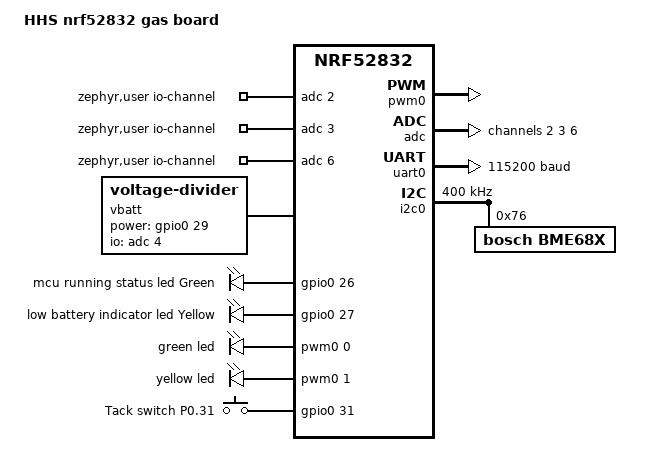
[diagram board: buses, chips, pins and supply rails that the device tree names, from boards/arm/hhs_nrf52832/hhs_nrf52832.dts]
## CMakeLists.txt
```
# SPDX-License-Identifier: Apache-2.0

cmake_minimum_required(VERSION 3.20.0)
set_property(GLOBAL PROPERTY CSTD c11)

set(BOARD_ROOT ${CMAKE_CURRENT_LIST_DIR})
set(BOARD hhs_nrf52832)
# set(BOARD_FLASH_RUNNER jlink)
set(APP_ROOT ${CMAKE_SOURCE_DIR})
set(ZEPHYR_EXTRA_MODULES ${CMAKE_CURRENT_SOURCE_DIR}/drivers)

set(CONF_FILE "prj.conf")
# list(APPEND CONF_FILE "debug.conf")

add_compile_definitions(_XOPEN_SOURCE=700)

find_package(Zephyr 3.5.99 EXACT)
project(gas_ces)

zephyr_include_directories(include)
file(GLOB app_sources src/*.c)
target_sources(app PRIVATE ${app_sources})
```

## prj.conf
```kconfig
# DFU
# CONFIG_NCS_SAMPLE_MCUMGR_BT_OTA_DFU=y
# CONFIG_BOOTLOADER_MCUBOOT=y

# Watchdog
CONFIG_WATCHDOG=y

# LED
CONFIG_PWM=y
CONFIG_LED=y

# ADC
CONFIG_ADC=y
CONFIG_ADC_NRFX_SAADC=y

# GPIO
CONFIG_GPIO=y
CONFIG_GPIO_HOGS=n

# SENSOR
CONFIG_I2C=y
CONFIG_SENSOR=y
CONFIG_SENSOR_INFO=y
# Temperature, Pressure, Humidity
CONFIG_BME68X=y
# Gas Mode(IAQ, CO2, VOC)
CONFIG_BME68X_IAQ_EN=n
CONFIG_BME68X_IAQ_SAMPLE_RATE_ULTRA_LOW_POWER=y
# CONFIG_BME68X_LOG_LEVEL_DBG=y

# Power Management
CONFIG_PM_DEVICE=y

# Settings - Used to store real-time device configuration to flash.
CONFIG_SETTINGS=y
CONFIG_SETTINGS_NVS=y
CONFIG_NVS=y
CONFIG_FLASH=y
CONFIG_FLASH_PAGE_LAYOUT=y
CONFIG_FLASH_MAP=y
CONFIG_STREAM_FLASH=y
CONFIG_MPU_ALLOW_FLASH_WRITE=y

CONFIG_NEWLIB_LIBC=y
CONFIG_NEWLIB_LIBC_FLOAT_SCANF=y

CONFIG_ASSERT=y
CONFIG_REBOOT=y

# Floating Point Unit
CONFIG_FP_HARDABI=y
CONFIG_FPU=y

# Bluetooth LE
CONFIG_BT=y
CONFIG_BT_PERIPHERAL=y
CONFIG_BT_DEVICE_NAME="HHS_G0012"
CONFIG_BT_USER_PHY_UPDATE=y
CONFIG_BT_GATT_CLIENT=y
CONFIG_BT_USER_DATA_LEN_UPDATE=y
CONFIG_BT_CTLR_DATA_LENGTH_MAX=251
CONFIG_BT_BUF_ACL_RX_SIZE=251
CONFIG_BT_BUF_ACL_TX_SIZE=251
CONFIG_BT_L2CAP_TX_MTU=247
CONFIG_BT_CTLR=y
CONFIG_BT_CTLR_TX_PWR_PLUS_4=y

# connection parameter
CONFIG_BT_PERIPHERAL_PREF_MIN_INT=400
CONFIG_BT_PERIPHERAL_PREF_MAX_INT=400
CONFIG_BT_PERIPHERAL_PREF_LATENCY=0
CONFIG_BT_PERIPHERAL_PREF_TIMEOUT=800
CONFIG_BT_GAP_AUTO_UPDATE_CONN_PARAMS=y

# Events
CONFIG_EVENTS=y

# stack size
CONFIG_BT_RX_STACK_SIZE=1024
CONFIG_BT_HCI_TX_STACK_SIZE_WITH_PROMPT=y
CONFIG_BT_HCI_TX_STACK_SIZE=640
CONFIG_SYSTEM_WORKQUEUE_STACK_SIZE=1024
CONFIG_MPSL_WORK_STACK_SIZE=640
CONFIG_MAIN_STACK_SIZE=1024
CONFIG_IDLE_STACK_SIZE=128
CONFIG_ISR_STACK_SIZE=1024

# Disable features not needed
CONFIG_TIMESLICING=n
CONFIG_MINIMAL_LIBC_MALLOC=n
CONFIG_LOG=n

# Disable Bluetooth ping support
CONFIG_BT_CTLR_LE_PING=n

# Disable shell commands that are not needed
CONFIG_CLOCK_CONTROL_NRF_SHELL=n
CONFIG_DEVICE_SHELL=n
CONFIG_DEVMEM_SHELL=n
CONFIG_FLASH_SHELL=n

# Memory protection
CONFIG_INIT_STACKS=n
CONFIG_THREAD_MONITOR=n
CONFIG_THREAD_CUSTOM_DATA=n

# Boot
CONFIG_BOOT_BANNER=n
CONFIG_BOOT_DELAY=0

# Console
CONFIG_CONSOLE=n
CONFIG_UART_CONSOLE=n
CONFIG_STDOUT_CONSOLE=n
CONFIG_EARLY_CONSOLE=n
CONFIG_RTT_CONSOLE=n
CONFIG_USE_SEGGER_RTT=n
CONFIG_PRINTK=n
CONFIG_LOG=n

# Drivers and peripherals
CONFIG_SPI=n
CONFIG_SERIAL=n

# Interrupts
CONFIG_DYNAMIC_INTERRUPTS=n
CONFIG_IRQ_OFFLOAD=n

# Build
CONFIG_SIZE_OPTIMIZATIONS=y

CONFIG_CRC=y
CONFIG_POWEROFF=y
CONFIG_PM=y
CONFIG_HWINFO=y
```

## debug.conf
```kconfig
# Debug Only
CONFIG_SERIAL=y
CONFIG_CONSOLE=y
CONFIG_UART_CONSOLE=y
CONFIG_LOG=y
CONFIG_LOG_MODE_DEFERRED=y
CONFIG_LOG_INFO_COLOR_GREEN=y
CONFIG_LOG_FUNC_NAME_PREFIX_DBG=n

CONFIG_APP_LOG_LEVEL_DBG=y
```

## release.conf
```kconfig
# DFU
# CONFIG_NCS_SAMPLE_MCUMGR_BT_OTA_DFU=y
# CONFIG_BOOTLOADER_MCUBOOT=y

# Watchdog
CONFIG_WATCHDOG=y

# LED
CONFIG_PWM=y
CONFIG_LED=y

# ADC
CONFIG_ADC=y

# GPIO
CONFIG_GPIO=y
CONFIG_GPIO_HOGS=y

# SENSOR
CONFIG_I2C=y
CONFIG_SENSOR=y
CONFIG_SENSOR_INFO=y
# Temperature, Pressure, Humidity
CONFIG_BME68X=y
# Gas Mode(IAQ, CO2, VOC)
CONFIG_BME68X_IAQ_EN=n
# CONFIG_BME68X_IAQ_SAMPLE_RATE_ULTRA_LOW_POWER=y
# CONFIG_BME68X_LOG_LEVEL_DBG=y

# Power Management
CONFIG_PM_DEVICE=y

# Settings - Used to store real-time device configuration to flash.
CONFIG_SETTINGS=y
CONFIG_SETTINGS_NVS=y
CONFIG_NVS=y
CONFIG_FLASH=y
CONFIG_FLASH_PAGE_LAYOUT=y
CONFIG_FLASH_MAP=y
CONFIG_STREAM_FLASH=y
CONFIG_MPU_ALLOW_FLASH_WRITE=y

CONFIG_NEWLIB_LIBC=y
CONFIG_NEWLIB_LIBC_FLOAT_SCANF=y

CONFIG_ASSERT=y
CONFIG_REBOOT=y

# Floating Point Unit
CONFIG_FP_HARDABI=y
CONFIG_FPU=y

# Bluetooth LE
CONFIG_BT=y
CONFIG_BT_PERIPHERAL=y
CONFIG_BT_DEVICE_NAME="HHSG_GAS_01"
CONFIG_BT_USER_PHY_UPDATE=y
CONFIG_BT_GATT_CLIENT=y
CONFIG_BT_USER_DATA_LEN_UPDATE=y
CONFIG_BT_CTLR_DATA_LENGTH_MAX=251
CONFIG_BT_BUF_ACL_RX_SIZE=251
CONFIG_BT_BUF_ACL_TX_SIZE=251
CONFIG_BT_L2CAP_TX_MTU=247

# connection parameter
CONFIG_BT_PERIPHERAL_PREF_MIN_INT=3200
CONFIG_BT_PERIPHERAL_PREF_MAX_INT=3200
CONFIG_BT_PERIPHERAL_PREF_LATENCY=0
CONFIG_BT_PERIPHERAL_PREF_TIMEOUT=1600
CONFIG_BT_GAP_AUTO_UPDATE_CONN_PARAMS=y

# Events
CONFIG_EVENTS=y

# stack size
CONFIG_BT_RX_STACK_SIZE=1024
CONFIG_BT_HCI_TX_STACK_SIZE_WITH_PROMPT=y
CONFIG_BT_HCI_TX_STACK_SIZE=640
CONFIG_SYSTEM_WORKQUEUE_STACK_SIZE=1024
CONFIG_MPSL_WORK_STACK_SIZE=640
CONFIG_MAIN_STACK_SIZE=1024
CONFIG_IDLE_STACK_SIZE=128
CONFIG_ISR_STACK_SIZE=1024

# Disable features not needed
CONFIG_TIMESLICING=n
CONFIG_MINIMAL_LIBC_MALLOC=n
CONFIG_LOG=n

# Disable Bluetooth ping support
CONFIG_BT_CTLR_LE_PING=n

# Disable shell commands that are not needed
CONFIG_CLOCK_CONTROL_NRF_SHELL=n
CONFIG_DEVICE_SHELL=n
CONFIG_DEVMEM_SHELL=n
CONFIG_FLASH_SHELL=n

# Memory protection
CONFIG_INIT_STACKS=n
CONFIG_THREAD_MONITOR=n
CONFIG_THREAD_CUSTOM_DATA=n

# Boot
CONFIG_BOOT_BANNER=n
CONFIG_BOOT_DELAY=0

# Console
CONFIG_CONSOLE=n
CONFIG_UART_CONSOLE=n
CONFIG_STDOUT_CONSOLE=n
CONFIG_EARLY_CONSOLE=n
CONFIG_RTT_CONSOLE=n
CONFIG_USE_SEGGER_RTT=n
CONFIG_PRINTK=n
CONFIG_LOG=n

# Drivers and peripherals
CONFIG_SPI=n
CONFIG_SERIAL=n

# Interrupts
CONFIG_DYNAMIC_INTERRUPTS=n
CONFIG_IRQ_OFFLOAD=n

# Build
CONFIG_SIZE_OPTIMIZATIONS=y

# Debug Only
# CONFIG_SERIAL=y
# CONFIG_CONSOLE=y
# CONFIG_UART_CONSOLE=y
# CONFIG_LOG=y
# CONFIG_LOG_MODE_DEFERRED=y
# CONFIG_LOG_INFO_COLOR_GREEN=y
# CONFIG_APP_LOG_LEVEL_DBG=y
# CONFIG_LOG_FUNC_NAME_PREFIX_DBG=n
```

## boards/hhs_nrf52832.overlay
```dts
/ {
	load_switchs{
		compatible = "power-switch";

		sw0: load_switch_0 {
			     gpios = <&gpio0 18 GPIO_ACTIVE_HIGH>;
			     label = "bme680 sensor load-switch";
		     };

		sw1: load_switch_1 {
			     gpios = <&gpio0 27 GPIO_ACTIVE_HIGH>;
			     label = "battery monitor load-switch";
		     };
	};
};
```

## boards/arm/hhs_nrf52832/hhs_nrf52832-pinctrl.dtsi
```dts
/*
 * Copyright (c) 2022 Nordic Semiconductor
 * SPDX-License-Identifier: Apache-2.0
 */

&pinctrl {
	uart0_default: uart0_default {
		group1 {
			psels = <NRF_PSEL(UART_TX, 0, 19)>,
                    <NRF_PSEL(UART_RX, 0, 18)>;
		};
	};

	uart0_sleep: uart0_sleep {
		group1 {
			psels = <NRF_PSEL(UART_TX, 0, 19)>,
                    <NRF_PSEL(UART_RX, 0, 18)>;
			low-power-enable;
		};
	};

	i2c0_default: i2c0_default {
		group1 {
			psels = <NRF_PSEL(TWIM_SDA, 0, 14)>,
                    <NRF_PSEL(TWIM_SCL, 0, 15)>;
                bias-pull-up;
		};
	};

	i2c0_sleep: i2c0_sleep {
		group1 {
			psels = <NRF_PSEL(TWIM_SDA, 0, 14)>,
                    <NRF_PSEL(TWIM_SCL, 0, 15)>;
			low-power-enable;
		};
	};

	pwm0_default: pwm0_default {
		group1 {
			psels = <NRF_PSEL(PWM_OUT0, 0, 26)>,
                    <NRF_PSEL(PWM_OUT1, 0, 27)>;
		};
	};

	pwm0_sleep: pwm0_sleep {
		group1 {
			psels = <NRF_PSEL(PWM_OUT0, 0, 26)>,
                    <NRF_PSEL(PWM_OUT1, 0, 27)>;
			low-power-enable;
		};
	};
};
```

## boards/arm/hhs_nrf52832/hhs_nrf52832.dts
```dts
/**
* @file hhs_nrf52832.dts
* @brief
* @author bradkim06
* @version
* @date 2023-10-17
*/

/dts-v1/;
#include <nordic/nrf52832_qfaa.dtsi>
#include "hhs_nrf52832-pinctrl.dtsi"

/ {
	model = "HHS nrf52832 gas board";
	compatible = "nordic,hhs_nrf52832";

	zephyr,user {
		io-channels = <&adc 2>, <&adc 3>, <&adc 6>;
	};

	chosen {
		zephyr,console = &uart0;
		zephyr,shell-uart = &uart0;
		zephyr,uart-mcumgr = &uart0;
		zephyr,bt-mon-uart = &uart0;
		zephyr,bt-c2h-uart = &uart0;
		zephyr,sram = &sram0;
		zephyr,flash = &flash0;
		zephyr,code-partition = &slot0_partition;
	};

	vbatt {
		compatible = "voltage-divider";
		status = "okay";
		io-channels = <&adc 4>;
		output-ohms = <180000>;
		full-ohms = <(1500000 + 180000)>;
		power-gpios = <&gpio0 29 GPIO_ACTIVE_HIGH>;
	};

	leds {
		compatible = "gpio-leds";
        status = "okay";

		led0: led_0 {
			gpios = <&gpio0 26 GPIO_ACTIVE_HIGH>;
			label = "mcu running status led Green";
		};
		led1: led_1 {
			gpios = <&gpio0 27 GPIO_ACTIVE_HIGH>;
			label = "low battery indicator led Yellow";
		};
	};

	pwmleds {
		compatible = "pwm-leds";
        status = "okay";
        label = "status led";

		pwm_led0: pwm_led_0 {
			pwms = <&pwm0 0 PWM_MSEC(20) PWM_POLARITY_NORMAL>;
			label = "green led";
		};
		pwm_led1: pwm_led_1 {
			pwms = <&pwm0 1 PWM_MSEC(20) PWM_POLARITY_NORMAL>;
			label = "yellow led";
		};
	};

    /* P0.31(== D31 핀)에 버튼을 정의하고 sw0 별칭을 바꾼다 */
    buttons: buttons {               /* ← 노드 이름 fixed string ‘buttons’ 권장 */
        compatible = "gpio-keys";

        btn_p031: button_0 {
            gpios = <&gpio0 31 (GPIO_ACTIVE_HIGH | GPIO_PULL_DOWN)>;
            label = "Tack switch P0.31";
        };
    };

	/* These aliases are provided for compatibility with samples */
	aliases {
		watchdog0 = &wdt0;
		led0 = &led0;
		led1 = &led1;
        greenled = &pwm_led0;
        yellowled = &pwm_led1;
		sw0 = &btn_p031;
	};
};

&pwm0 {
	status = "okay";
	pinctrl-0 = <&pwm0_default>;
	pinctrl-1 = <&pwm0_sleep>;
	pinctrl-names = "default", "sleep";
};

&nfct {
	status = "disabled";
};

&adc {
	status = "okay";
	#address-cells = <1>;
	#size-cells = <0>;

	/*
     * datasheet value different, ideal 90uA +-20 (at 20.9% o2)
	 * 1% current 5uA -> sensor vout = (Curr * Rl) * (1 + R1 / R2) =
	 */
	o2_mon: channel@2 {
		reg = <2>;
		zephyr,gain = "ADC_GAIN_1_6";
		zephyr,reference = "ADC_REF_INTERNAL";
		zephyr,acquisition-time = <ADC_ACQ_TIME(ADC_ACQ_TIME_MICROSECONDS, 40)>;
		zephyr,input-positive = <NRF_SAADC_AIN2>; /* P0.04 */
		zephyr,resolution = <12>;
		zephyr,oversampling = <5>;
	};

	gas_mon: channel@3 {
		reg = <3>;
		zephyr,gain = "ADC_GAIN_1_6";
		zephyr,reference = "ADC_REF_INTERNAL";
		zephyr,acquisition-time = <ADC_ACQ_TIME(ADC_ACQ_TIME_MICROSECONDS, 40)>;
		zephyr,input-positive = <NRF_SAADC_AIN3>; /* P0.05 */
		zephyr,resolution = <12>;
		zephyr,oversampling = <5>;
	};

	batt_mon: channel@6 {
		reg = <6>;
		zephyr,gain = "ADC_GAIN_1_6";
		zephyr,reference = "ADC_REF_INTERNAL";
		zephyr,acquisition-time = <ADC_ACQ_TIME(ADC_ACQ_TIME_MICROSECONDS, 40)>;
		zephyr,input-positive = <NRF_SAADC_AIN6>; /* P0.30 */
		zephyr,resolution = <12>;
		zephyr,oversampling = <5>;
	};
};

&gpio0 {
	status = "okay";
};

serial: &uart0 {
	status = "okay";
	compatible = "nordic,nrf-uarte";
	current-speed = <115200>;
	pinctrl-0 = <&uart0_default>;
	pinctrl-1 = <&uart0_sleep>;
	pinctrl-names = "default", "sleep";
};

i2c: &i2c0 {
	compatible = "nordic,nrf-twim";
	status = "okay";
	clock-frequency = <I2C_BITRATE_FAST>;

	pinctrl-0 = <&i2c0_default>;
	pinctrl-1 = <&i2c0_sleep>;
	pinctrl-names = "default", "sleep";

	bme68x:bme68x@76 {
		compatible = "bosch,bme68x";
		status = "okay";
		friendly-name = "bosch environment sensor";
		reg = <0x76>;
	};
};

&gpiote {
    status = "okay";
};

&flash0 {
	partitions {
		compatible = "fixed-partitions";
		#address-cells = <1>;
		#size-cells = <1>;

		boot_partition: partition@0 {
			label = "mcuboot";
			reg = <0x00000000 0xc000>;
		};
		slot0_partition: partition@c000 {
			label = "image-0";
			reg = <0x0000C000 0x37000>;
		};
		slot1_partition: partition@43000 {
			label = "image-1";
			reg = <0x00043000 0x37000>;
		};
		storage_partition: partition@7a000 {
			label = "storage";
			reg = <0x0007a000 0x00006000>;
		};
	};
};
```

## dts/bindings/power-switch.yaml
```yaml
# Copyright (c) 2023 Libre Solar Technologies GmbH
# SPDX-License-Identifier: Apache-2.0

description: GPIO pin to switch a power output on or off

compatible: "power-switch"

child-binding:
  description: GPIO LED child node
  properties:
    gpios:
      type: phandle-array
      required: true
      description: |
        The GPIO connected to the gate driver for the MOSFET.
    label:
      type: string
      description: |
        a load with high current demands should be switched on or off via a MOSFET
```

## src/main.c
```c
/**
 * @file src/main.c - The starting point of the user application
 *
 * @brief The operation of the main() function, which is the first function
 * called after kernel initialization
 *
 * @author bradkim06@gmail.com
 */
#include <hal/nrf_power.h>
#include <zephyr/device.h>
#include <zephyr/drivers/gpio.h>
#include <zephyr/drivers/hwinfo.h>
#include <zephyr/drivers/watchdog.h>
#include <zephyr/kernel.h>
#include <zephyr/logging/log.h>
#include <zephyr/pm/pm.h>
#include <zephyr/sys/poweroff.h>
#include <zephyr/sys/reboot.h>

#include "gas.h"
#include "version.h"

/* ───── 설정 값 ───── */
#define LONG_PRESS_MS 1000 /* 길게 누름 시간 */

static const struct gpio_dt_spec sw0 = GPIO_DT_SPEC_GET(DT_ALIAS(sw0), gpios);
static struct gpio_callback sw_cb;
static struct k_timer long_press_timer;
static volatile bool off_pending; /* 뗐을 때 power-off 플래그 */
static atomic_t pressed;

/* 타이머 만료 → 1 초 이상 눌림 확인 */
static void long_press_handler(struct k_timer *timer) {
    if (!atomic_get(&pressed))
        return;

    printk("Long press detected – release to power-off\n");
    off_pending = true; /* 뗐을 때 끌 것 */
}

/* 전원 끄기 전 GPIO 핀을 연결 해제하여 누설 전류를 최소화합니다. */
static void configure_gpios_for_poweroff(void) {
    const struct device *const gpio0 = DEVICE_DT_GET(DT_NODELABEL(gpio0));

    if (!device_is_ready(gpio0)) {
        printk("GPIO0 not ready\n");
        return;
    }

    for (uint8_t pin = 0; pin < 32; pin++) {
        switch (pin) {
        case 31: /* wake-up 버튼 – 건드리지 않음 */
            break;

        case 29: /* VBATT 전원 스위치 및 LED 게이트 전원 차단 */
        case 26: /* LED 게이트는 VBATT 스위치를 Low 로 당겨 공유 차단 */
        case 27: /* LED 게이트는 VBATT 스위치를 Low 로 당겨 공유 차단 */
            gpio_pin_configure(gpio0, 29, GPIO_OUTPUT_LOW);
            break;

        default: /* 나머지 – 완전 Hi-Z */
            gpio_pin_configure(gpio0, pin, GPIO_DISCONNECTED);
            break;
        }
    }
}

static void button_cb(const struct device *dev, struct gpio_callback *cb,
                      uint32_t pins) {
    bool val = gpio_pin_get_dt(&sw0);

    if (val) { /* High → 눌림 시작 */
        atomic_set(&pressed, 1);
        k_timer_start(&long_press_timer, K_MSEC(LONG_PRESS_MS), K_NO_WAIT);
    } else { /* Low → 뗌 */
        atomic_set(&pressed, 0);
        k_timer_stop(&long_press_timer);

        if (off_pending) { /* 길게 누른 뒤 손 뗐음 → 끄기 */
            off_pending = false;

            /* 깨우기용: 다음 Rising(High) 에 반응 */
            gpio_pin_interrupt_configure_dt(&sw0, GPIO_INT_LEVEL_ACTIVE);

            configure_gpios_for_poweroff();

            hwinfo_clear_reset_cause();
            sys_poweroff(); /* System-OFF, 전류 ≈ 0.3 µA */
        }
    }
}

LOG_MODULE_REGISTER(MAIN, CONFIG_APP_LOG_LEVEL);
FIRMWARE_INFO();

/**
 * @brief This thread performs kernel initialization, then calls the
application’s main() function (if one is defined).

By default, the main thread uses the highest configured preemptible thread
priority (i.e. 0). If the kernel is not configured to support preemptible
threads, the main thread uses the lowest configured cooperative thread priority
(i.e. -1).

The main thread is an essential thread while it is performing kernel
initialization or executing the application’s main() function; this means a
fatal system error is raised if the thread aborts. If main() is not defined, or
if it executes and then does a normal return, the main thread terminates
normally and no error is raised.
 *
 * @return must be 0(none error)
 */
int main(void) {
    LOG_INF("Firmware : %s", firmware_info);
    LOG_INF("Board:%s  SoC:%s  ROM:%dkB  RAM:%dkB", CONFIG_BOARD, CONFIG_SOC,
            CONFIG_FLASH_SIZE, CONFIG_SRAM_SIZE);

    /* ① 버튼 핀 설정 */
    gpio_pin_configure_dt(&sw0, GPIO_INPUT | GPIO_PULL_DOWN);
    /* 풀다운 저항이 안정될 시간을 줌 */
    k_sleep(K_MSEC(10));

    gpio_pin_interrupt_configure_dt(&sw0, GPIO_INT_EDGE_BOTH);
    gpio_init_callback(&sw_cb, button_cb, BIT(sw0.pin));
    gpio_add_callback(sw0.port, &sw_cb);

    k_timer_init(&long_press_timer, long_press_handler, NULL);

    /* ② 부팅 원인 확인 */
    uint32_t cause;
    hwinfo_get_reset_cause(&cause);
    printk("Hold P0.31 for 1 s to enter deep sleep.\n");

    /* ③ 애플리케이션 루프 */
    while (1) {
        k_sleep(K_FOREVER);
    }

    return 0;
}

#if DT_HAS_COMPAT_STATUS_OKAY(nordic_nrf_wdt)
/* Maximum and minimum window for watchdog timer in milliseconds */
#define WDT_MAX_WINDOW 5000U
#define WDT_MIN_WINDOW 0U

/* Interval for feeding the watchdog timer(ms) */
#define WDT_FEED_INTERVAL 1000U

/* Option for watchdog timer */
#define WDT_OPER_MODE WDT_OPT_PAUSE_HALTED_BY_DBG
#endif

/**
 * @brief Watchdog thread function.
 *
 * This function sets up the watchdog timer and continuously feeds it.
 */
static void watchdog_thread_fn(void) {
    int setup_error_status;  // wdt_setup 결과 코드 저장
    int watchdog_channel_id; // 설치된 watchdog 채널 식별자
    const struct device *const watchdog_device =
        DEVICE_DT_GET(DT_ALIAS(watchdog0)); // watchdog 주변장치 핸들

    // Check if the device is ready before proceeding
    if (!device_is_ready(watchdog_device)) {
        LOG_ERR("%s: device not ready.\n", watchdog_device->name);
        return;
    }

    struct wdt_timeout_cfg watchdog_configuration = {
        /* Reset SoC when watchdog timer expires. */
        .flags = WDT_FLAG_RESET_SOC,

        /* Expire watchdog after max window */
        .window.min = WDT_MIN_WINDOW,
        .window.max = WDT_MAX_WINDOW,
    };

    // Install timeout for the watchdog
    watchdog_channel_id =
        wdt_install_timeout(watchdog_device, &watchdog_configuration);
    if (watchdog_channel_id < 0) {
        LOG_ERR("Error installing watchdog timeout\n");
        return;
    }

    // Set up the watchdog
    setup_error_status = wdt_setup(watchdog_device, WDT_OPER_MODE);
    if (setup_error_status < 0) {
        printk("Error setting up watchdog\n");
        return;
    }

    // Feed the watchdog
    while (1) {
        wdt_feed(watchdog_device, watchdog_channel_id);
        k_sleep(K_MSEC(WDT_FEED_INTERVAL));
    }
}

#define STACKSIZE 1024
#define PRIORITY 14
K_THREAD_DEFINE(watchdog_thread_id, STACKSIZE, watchdog_thread_fn, NULL, NULL,
                NULL, PRIORITY, 0, 0);
```

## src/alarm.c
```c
#include <zephyr/kernel.h>
#include <zephyr/logging/log.h>
#include <zephyr/device.h>
#include <zephyr/drivers/counter.h>

#include "bluetooth.h"

LOG_MODULE_REGISTER(ALARM);

/* size of stack area used by each thread */
#define STACKSIZE 1024

/* scheduling priority used by each thread */
#define PRIORITY 16

/* delay(us) */
#define ALARM_DELAY	 60 * 1000 * 1000
#define ALARM_CHANNEL_ID 0

struct counter_alarm_cfg alarm_cfg;

#define TIMER DT_ALIAS(rtc)

#if !DT_NODE_EXISTS(TIMER)
#error "Overlay for timer node not properly defined."
#endif

const struct device *const counter_dev = DEVICE_DT_GET(TIMER);

static void test_counter_interrupt_fn(const struct device *counter_dev, uint8_t chan_id,
				      uint32_t ticks, void *user_data)
{
	LOG_WRN("!!! Alarm !!!");
	k_event_post(&bt_event, ALARM);

	if (!notify_gas_enabled) {
		return;
	}

	int err = counter_set_channel_alarm(counter_dev, ALARM_CHANNEL_ID, user_data);
	if (err != 0) {
		LOG_ERR("Alarm could not be set");
	}
}

static int alarm_setup(void)
{

	LOG_INF("Counter alarm sample");

	if (!device_is_ready(counter_dev)) {
		LOG_ERR("device not ready.");
		return -ENODEV;
	}

	return 0;
}

int alarm_run(void)
{
	int err = 0;

	counter_start(counter_dev);

	alarm_cfg.flags = 0;
	alarm_cfg.ticks = counter_us_to_ticks(counter_dev, ALARM_DELAY);
	alarm_cfg.callback = test_counter_interrupt_fn;
	alarm_cfg.user_data = &alarm_cfg;

	err = counter_set_channel_alarm(counter_dev, ALARM_CHANNEL_ID, &alarm_cfg);
	LOG_INF("Set alarm in %u sec (%u ticks)",
		(uint32_t)(counter_ticks_to_us(counter_dev, alarm_cfg.ticks) / USEC_PER_SEC),
		alarm_cfg.ticks);

	if (-EINVAL == err) {
		LOG_ERR("Alarm settings invalid");
	} else if (-ENOTSUP == err) {
		LOG_ERR("Alarm setting request not supported");
	} else if (err != 0) {
		LOG_ERR("Error");
	}

	return err;
}

SYS_INIT(alarm_setup, APPLICATION, CONFIG_APPLICATION_INIT_PRIORITY);
```

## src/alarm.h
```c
#ifndef __APP_ALARM_H__
#define __APP_ALARM_H__

#include <stdint.h>

int alarm_run(void);

#endif
```

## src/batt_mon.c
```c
/*
 * Copyright (c) 2018-2019 Peter Bigot Consulting, LLC
 * Copyright (c) 2019 Nordic Semiconductor ASA
 *
 * SPDX-License-Identifier: Apache-2.0
 */

#include <math.h>
#include <stdio.h>
#include <stdlib.h>

#include <zephyr/logging/log.h>
#include <zephyr/kernel.h>
#include "battery.h"

/* size of stack area used by each thread */
#define STACKSIZE 1024

/* scheduling priority used by each thread */
#define PRIORITY 7

LOG_MODULE_REGISTER(BATTERY_MON, CONFIG_ADC_LOG_LEVEL);

/** A discharge curve specific to the power source. */
static const struct battery_level_point levels[] = {
	/* "Curve" here eyeballed from captured data for the [Adafruit
	 * 3.7v 2000 mAh](https://www.adafruit.com/product/2011) LIPO
	 * under full load that started with a charge of 3.96 V and
	 * dropped about linearly to 3.58 V over 15 hours.  It then
	 * dropped rapidly to 3.10 V over one hour, at which point it
	 * stopped transmitting.
	 *
	 * Based on eyeball comparisons we'll say that 15/16 of life
	 * goes between 3.95 and 3.55 V, and 1/16 goes between 3.55 V
	 * and 3.1 V.
	 */

	{10000, 3950},
	{625, 3550},
	{0, 3100},
};

void battmon(void)
{
	int rc = battery_measure_enable(true);

	if (rc != 0) {
		LOG_ERR("Failed initialize battery measurement: %d", rc);
		return;
	}

	// battery stable time delay
	k_msleep(2 * MSEC_PER_SEC);

	while (1) {
		/* Burn battery so you can see that this works over time */
		int batt_mV = battery_sample();
		unsigned int batt_pptt = battery_level_pptt(batt_mV, levels);

		LOG_INF("%d mV; %u pptt", batt_mV, batt_pptt);

		k_msleep(10 * MSEC_PER_SEC);
	}
}

K_THREAD_DEFINE(battmon_id, STACKSIZE, battmon, NULL, NULL, NULL, PRIORITY, 0, 0);
```

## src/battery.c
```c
/**
 * @file src/battery.c - Battery monitoring and management application code
 *
 * @brief This program provides functionality for battery monitoring and management.
 * It reads the battery voltage using an ADC and calculates battery levels and status.
 * It maintains a moving average for battery voltage and checks for low battery warnings.
 *
 * @author bradkim06@gmail.com
 */
#include <stdio.h>
#include <stdlib.h>

#include <zephyr/drivers/adc.h>
#include <zephyr/drivers/gpio.h>
#include <zephyr/drivers/sensor.h>
#include <zephyr/init.h>
#include <zephyr/kernel.h>
#include <zephyr/logging/log.h>

#include "battery.h"
#include "hhs_math.h"
#include "hhs_util.h"

LOG_MODULE_REGISTER(BATTERY, CONFIG_APP_LOG_LEVEL);

/* Devicetree Access */
#define VBATT DT_PATH(vbatt)

/* Used for Mutual Exclusion of battery data. */
K_SEM_DEFINE(batt_data_sem, 1, 1);

static struct battery_value batt_percent;

static bool battery_ok;

/** A discharge curve specific to the power source. */
static const struct level_point levels[] = {
	/* "Curve" here eyeballed from captured data for the [Adafruit
	 * 3.7v 2000 mAh](https://www.adafruit.com/product/2011) LIPO
	 * under full load that started with a charge of 3.96 V and
	 * dropped about linearly to 3.58 V over 15 hours.  It then
	 * dropped rapidly to 3.10 V over one hour, at which point it
	 * stopped transmitting.
	 *
	 * Based on eyeball comparisons we'll say that 15/16 of life
	 * goes between 3.95 and 3.55 V, and 1/16 goes between 3.55 V
	 * and 3.1 V.
	 */

	// dtp-102535 800mAh Batt
	// {10000, 4000},
	// tw-403030 300mAh Batt
	{10000, 4000},
	{625, 3300},
	{0, 3100},
};

struct io_channel_config {
	uint8_t channel;
};

/**
 * @struct divider_config
 * @brief This structure is used for configuring the divider.
 */
struct divider_config {
	/**< IO channel configuration */
	struct io_channel_config io_channel;
	/**< GPIO specification for power battery enable*/
	struct gpio_dt_spec power_gpios;
	/**
	 * @brief Output resistance in ohms.
	 *
	 * This is used as a flag value: if it is nonzero then
	 * the battery is measured through a voltage divider;
	 * otherwise it is assumed to be directly connected to Vdd.
	 */
	uint32_t output_ohm;
	/**< Full resistance in ohms */
	uint32_t full_ohm;
};

static const struct divider_config divider_config = {
	.io_channel =
		{
			DT_IO_CHANNELS_INPUT(VBATT),
		},
	.power_gpios = GPIO_DT_SPEC_GET_OR(VBATT, power_gpios, {}),
	.output_ohm = DT_PROP(VBATT, output_ohms),
	.full_ohm = DT_PROP(VBATT, full_ohms),
};

struct divider_data {
	const struct device *adc;
	struct adc_channel_cfg adc_cfg;
	struct adc_sequence adc_seq;
	int16_t raw;
};

static struct divider_data divider_data = {
	.adc = DEVICE_DT_GET(DT_IO_CHANNELS_CTLR(VBATT)),
};

/**
 * @brief Setup the divider functionality.
 *
 * This function configures the divider based on the provided settings and hardware components.
 * It initializes the ADC sequence, sets up GPIO control for power management, and configures the
 * ADC channel. The function returns error codes if there are any issues during setup.
 *
 * @return 0 on success, or a negative error code on failure.
 */
static int divider_setup(void)
{
	const struct divider_config *cfg = &divider_config;
	const struct io_channel_config *iocp = &cfg->io_channel;
	const struct gpio_dt_spec *gcp = &cfg->power_gpios;
	struct divider_data *ddp = &divider_data;
	struct adc_sequence *asp = &ddp->adc_seq;
	struct adc_channel_cfg *accp = &ddp->adc_cfg;
	int rc;

	if (!device_is_ready(ddp->adc)) {
		LOG_ERR("ADC device is not ready %s", ddp->adc->name);
		return -ENOENT;
	}

	if (gcp->port) {
		if (!device_is_ready(gcp->port)) {
			LOG_ERR("%s: device not ready", gcp->port->name);
			return -ENOENT;
		}
		rc = gpio_pin_configure_dt(gcp, GPIO_OUTPUT_INACTIVE);
		if (rc != 0) {
			LOG_ERR("Failed to control feed %s.%u: %d", gcp->port->name, gcp->pin, rc);
			return rc;
		}
	}

	*asp = (struct adc_sequence){
		.channels = BIT(0),
		.buffer = &ddp->raw,
		.buffer_size = sizeof(ddp->raw),
		.oversampling = 8,
		.calibrate = true,
	};

#ifdef CONFIG_ADC_NRFX_SAADC
#define BATTERY_ADC_GAIN ADC_GAIN_1
	*accp = (struct adc_channel_cfg){
		.gain = BATTERY_ADC_GAIN,
		.reference = ADC_REF_INTERNAL,
		.acquisition_time = ADC_ACQ_TIME(ADC_ACQ_TIME_MICROSECONDS, 40),
	};

	if (cfg->output_ohm != 0) {
		accp->input_positive = SAADC_CH_PSELP_PSELP_AnalogInput0 + iocp->channel;
	} else {
		accp->input_positive = SAADC_CH_PSELP_PSELP_VDD;
	}

	asp->resolution = 14;
#else /* CONFIG_ADC_var */
#error Unsupported ADC
#endif /* CONFIG_ADC_var */

	rc = adc_channel_setup(ddp->adc, accp);
	LOG_DBG("Setup AIN%u got %d(%s)", iocp->channel, rc, (rc ? "err" : "none err"));

	return rc;
}

/**
 * @brief Setup the battery management.
 *
 * This function sets up the battery management by calling the "divider_setup" function.
 * It also checks if the battery setup was successful and updates the "battery_ok" flag accordingly.
 *
 * @return 0 on success, or a negative error code on failure.
 */
static int battery_setup(void)
{
	int rc = divider_setup();

	battery_ok = (rc == 0);
	LOG_DBG("Battery setup: %d(%s) %d(%s)", rc, (rc ? "err" : "none err"), battery_ok,
		(battery_ok ? "ok" : "fail"));

	return rc;
}

/** Enable or disable measurement of the battery voltage.
 *
 * @param enable true to enable, false to disable
 *
 * @return zero on success, or a negative error code.
 */
static int battery_measure_enable(bool enable)
{
	int rc = -ENOENT;

	if (battery_ok) {
		const struct gpio_dt_spec *gcp = &divider_config.power_gpios;

		rc = 0;
		if (gcp->port) {
			rc = gpio_pin_set_dt(gcp, enable);

			if (enable) {
				/* Sleep for enable delay */
				k_sleep(K_MSEC(200));
			}
		}
	}
	return rc;
}

/** Measure the battery voltage.
 *
 * @return the battery voltage in millivolts, or a negative error
 * code.
 */
static int battery_sample(void)
{
	int rc = -ENOENT;

	if (battery_ok) {
		struct divider_data *ddp = &divider_data;
		const struct divider_config *dcp = &divider_config;
		struct adc_sequence *sp = &ddp->adc_seq;

		rc = adc_read(ddp->adc, sp);
		sp->calibrate = false;
		if (rc == 0) {
			int32_t val = ddp->raw;

			adc_raw_to_millivolts(adc_ref_internal(ddp->adc), ddp->adc_cfg.gain,
					      sp->resolution, &val);

			if (dcp->output_ohm != 0) {
				rc = val * (uint64_t)dcp->full_ohm / dcp->output_ohm;
				// LOG_DBG("raw %u ~ %u mV => %d mV", ddp->raw, val, rc);
			} else {
				rc = val;
				// LOG_DBG("raw %u ~ %u mV", ddp->raw, val);
			}
		}
	}

	return (rc < 0) ? 0 : rc;
}

/**
 * @brief Measure battery status and update battery level information.
 *
 * This function measures the battery status, calculates the battery level in pptt, and updates the
 * battery level information. It also checks if the battery level is below a low battery threshold
 * and logs a warning if necessary.
 *
 * @return True if the battery level is below the low battery threshold, false otherwise.
 */
static bool measure_battery_status(moving_average_t *battery_status)
{
	// Get current battery voltage
	int current_battery_mV = battery_sample();
	// Calculate moving average
	int average_battery_mV = calculate_moving_average(battery_status, current_battery_mV);
	// Calculate power-to-time-to-charge ratio
	unsigned int pptt = calculate_level_pptt(average_battery_mV, levels);

	// Take the battery semaphore to ensure exclusive access to the global battery pptt value
	k_sem_take(&batt_data_sem, K_FOREVER);
	batt_percent.val1 = pptt / 100;        // Update the first digit of the pptt value
	batt_percent.val2 = (pptt % 100) / 10; // Update the second digit of the pptt value
	k_sem_give(&batt_data_sem);            // Release the battery semaphore

	// Check if the pptt is below the low battery threshold and set the low battery status
	// accordingly
	bool is_low_battery = (pptt < LOW_BATT_THRESHOLD) ? true : false;

	// length of the log message
	const char *log_format = "curr : %dmV avg : %d mV; %u pptt, ";
	const int log_len =
		snprintf(NULL, 0, log_format, current_battery_mV, average_battery_mV, pptt);

	// Allocate memory for log_message. The allocated memory size is log_len + 1.
	char *log_message = malloc(log_len + 1);

	if (!log_message) {
		LOG_ERR("Failed to allocate battery log message");
		return is_low_battery;
	}

	// Use snprintf to compose the formatted log message into log_message.
	snprintf(log_message, log_len + 1, log_format, current_battery_mV, average_battery_mV,
		 pptt);

	// Log the appropriate message based on the low battery status
	CODE_IF_ELSE(is_low_battery, LOG_INF("low batt warning %s", log_message),
		     LOG_DBG("stable batt %s", log_message));
	free(log_message);

	return is_low_battery; // Return the low battery status
}

/**
 * @brief Battery measurement thread function.
 *
 * This function is the entry point for the battery measurement thread. It initializes the
 * battery measurement and then periodically calls the "measure_battery_status" function to measure
 * battery status. The battery status is maintained with a moving average, and low battery
 * warnings are logged as needed.
 *
 * thread period current consumption test result
 * 10Sec = 3uA
 * 30Sec = 2uA
 * 60Sec = 1uA (Recommend)
 */
static void battery_measurement_thread(void)
{
/* Define filter size for moving average */
#define FILTER_SIZE 15

	/* Allocate memory for moving average */
	/* battery percent moving average filter */
	moving_average_t *battery_status = allocate_moving_average(FILTER_SIZE);
	if (battery_status == NULL) {
		return;
	}

	/* Enable battery measurement */
	int measurement_status = battery_measure_enable(true);

	/* Check for errors */
	if (measurement_status != 0) {
		/* Log error and return */
		LOG_ERR("Failed to initialize battery measurement: %d", measurement_status);
		free_moving_average(&battery_status);
		return;
	}

	/* Define thread period in seconds */
#define THREAD_PERIOD_SEC 60
	/* Loop for continuous measurement */
	while (1) {
		/* Call function for measuring battery */
		measure_battery_status(battery_status);

		k_sleep(K_SECONDS(THREAD_PERIOD_SEC));
	}
}

struct battery_value get_battery_percent(void)
{
	k_sem_take(&batt_data_sem, K_FOREVER);
	struct battery_value copy = batt_percent;
	k_sem_give(&batt_data_sem);

	return copy;
}

SYS_INIT(battery_setup, APPLICATION, CONFIG_APPLICATION_INIT_PRIORITY);
#define STACKSIZE 1024
#define PRIORITY  5
K_THREAD_DEFINE(battmon_id, STACKSIZE, battery_measurement_thread, NULL, NULL, NULL, PRIORITY, 0,
		0);
```

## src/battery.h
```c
#ifndef __APP_BATTERY_H__
#define __APP_BATTERY_H__

#define LOW_BATT_THRESHOLD 2000

struct battery_value {
	/** Integer part of the value. Range 0~100*/
	unsigned int val1;
	/** Fractional part of the value. Range 0~99 */
	unsigned int val2;
};

/**
 * @brief Get the battery percentage value.
 *
 * This function retrieves the battery percentage value after acquiring the necessary semaphore to
 * ensure exclusive access to the battery data. It returns a copy of the battery percentage value.
 *
 * @return A copy of the battery percentage value.
 */
struct battery_value get_battery_percent(void);

#endif // __APP_BATTERY_H__
```

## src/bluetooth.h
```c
#ifndef __APP_BT_H__
#define __APP_BT_H__

#include <stdbool.h>

#include "hhs_util.h"

/** @brief LBS Service UUID. */
#define BT_UUID_HHS_VAL       BT_UUID_128_ENCODE(0x0000FFF0, 0x0000, 0x1000, 0x8000, 0x00805F9B34FB)
/** @brief Notify Characteristic UUID. */
#define BT_UUID_HHS_NOTI_VAL  BT_UUID_128_ENCODE(0x0000FFF1, 0x0000, 0x1000, 0x8000, 0x00805F9B34FB)
/** @brief Write Characteristic UUID. */
#define BT_UUID_HHS_WRITE_VAL BT_UUID_128_ENCODE(0x0000FFF2, 0x0000, 0x1000, 0x8000, 0x00805F9B34FB)

#define BT_UUID_HHS       BT_UUID_DECLARE_128(BT_UUID_HHS_VAL)
#define BT_UUID_HHS_NOTI  BT_UUID_DECLARE_128(BT_UUID_HHS_NOTI_VAL)
#define BT_UUID_HHS_WRITE BT_UUID_DECLARE_128(BT_UUID_HHS_WRITE_VAL)

/** Product : 10sec **/
#define TIMEOUT_SEC 10

/* Define a list of Bluetooth events with their corresponding values. */
#define BT_EVENT_LIST(X)                                                                           \
	/* event wait timeout(TIMEOUT_SEC) */                                                      \
	X(TIMEOUT, = 0x01)                                                                         \
	/* event ble notify enabled */                                                             \
	X(BLE_NOTIFY_EN, = 0x02)                                                                   \
	/* event gas sensor value exceeding the threshold(O2_THRES) */                             \
	X(GAS_VAL_CHANGE, = 0x04)                                                                  \
	/* event iaq value exceeding the threshold(IAQ_VAL_THRESH) */                              \
	X(IAQ_VAL_THRESH, = 0x08)                                                                  \
	/* event voc value exceeding the threshold(VOC_VAL_THRESH) */                              \
	X(VOC_VAL_THRESH, = 0x10)                                                                  \
	/* event co2 value exceeding the threshold(CO2_VAL_THRESH) */                              \
	X(CO2_VAL_THRESH, = 0x20)
DECLARE_ENUM(bt_tx_event, BT_EVENT_LIST)

extern struct k_event bt_event;

int bt_setup(void);

#endif // __APP_BT_H__
```

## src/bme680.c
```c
/**
 * @file bme680.c
 * @brief
 * @author bradkim06
 * @version v0.01
 * @date 2023-09-18
 */
#include <zephyr/kernel.h>
#include <zephyr/logging/log.h>
#include <zephyr/drivers/gpio.h>

#include "bme680.h"

/* size of stack area used by each thread */
#define STACKSIZE 1024

/* scheduling priority used by each thread */
#define PRIORITY 7

LOG_MODULE_REGISTER(BME680_MON, CONFIG_BOARD_HHS_LOG_LEVEL);

struct bme680 bme680_result;

static void bme680_mon(void)
{
	const struct device *const dev = DEVICE_DT_GET_ONE(bosch_bme680);
	struct bme680 *p = &bme680_result;

	if (!device_is_ready(dev)) {
		LOG_ERR("device not ready.");
		return;
	}

	LOG_INF("Device %s ready", dev->name);

	while (1) {
		k_sleep(K_SECONDS(60));

		sensor_sample_fetch(dev);
		sensor_channel_get(dev, SENSOR_CHAN_AMBIENT_TEMP, &p->temp);
		sensor_channel_get(dev, SENSOR_CHAN_PRESS, &p->press);
		sensor_channel_get(dev, SENSOR_CHAN_HUMIDITY, &p->humidity);
		sensor_channel_get(dev, SENSOR_CHAN_GAS_RES, &p->gas_res);

		LOG_DBG("T: %d.%06d; P: %d.%06d; H: %d.%06d; G: %d.%06d", p->temp.val1,
			p->temp.val2, p->press.val1, p->press.val2, p->humidity.val1,
			p->humidity.val2, p->gas_res.val1, p->gas_res.val2);
	}
}

K_THREAD_DEFINE(bme680_id, STACKSIZE, bme680_mon, NULL, NULL, NULL, PRIORITY, 0, 0);
```

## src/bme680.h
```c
#ifndef _APP_BME680_H_
#define _APP_BME680_H_

#include <zephyr/drivers/sensor.h>

struct bme680 {
	struct sensor_value temp;
	struct sensor_value press;
	struct sensor_value humidity;
	struct sensor_value gas_res;
};

#endif
```

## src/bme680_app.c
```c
/**
 * @file src/bme680_app.c - bme680 environments sensor application
 *
 * @brief Code for collecting environmental sensor information through the BME680 driver.
 *
 * @author bradkim06@gmail.com
 */
#include <math.h>

#include <zephyr/logging/log.h>

#include <drivers/bme68x_iaq.h>

#include "bme680_app.h"
#if defined(CONFIG_BME68X_IAQ_EN)
#include "bluetooth.h"
#endif // CONFIG_BME68X_IAQ_EN

/* Register the BME680 module with the specified log level. */
LOG_MODULE_REGISTER(bme680, CONFIG_APP_LOG_LEVEL);

/* Define a semaphore for synchronization during initial gas data temperature correction. */
struct k_sem temperature_semaphore;

#if defined(CONFIG_BME68X)
/**
 * Define various air quality warning thresholds and provide detailed information
 * for each parameter in the README.md.
 */
#define IAQ_UNHEALTHY_THRES 100
#define VOC_UNHEALTHY_THRES 2
#define CO2_UNHEALTHY_THRES 1000

/* Define a semaphore for mutual exclusion of BME680 data. */
K_SEM_DEFINE(bme680_sem, 1, 1);

/* Define a sensor trigger for timer-based sampling of all channels. */
const struct sensor_trigger trigger = {
	.type = SENSOR_TRIG_TIMER,
	.chan = SENSOR_CHAN_ALL,
};

/* Initialize the BME680 data structure with default values. */
struct bme680_data bme680 = {0};

/**
 * @brief Truncates the number of decimal places in the sensor data received from the Zephyr sensor.
 * The default valid range for decimal data is 6 digits, but this can be adjusted by specifying
 * the number of decimal places to truncate.
 *
 * @param sensor_data: The sensor data to truncate.
 * @param num_decimal_places: The number of decimal places to truncate.
 */
static void truncate_sensor_data_decimal_places(int32_t *sensor_data, int num_decimal_places)
{
	// Check for invalid input.
	if (*sensor_data <= 0 || num_decimal_places < 0) {
		// It is possible case
		LOG_WRN("invalid input parameter, sensord_data : %d num_decimal_places : %d",
			*sensor_data, num_decimal_places);
		*sensor_data = 0;
		return;
	}

	// Calculate the number of digits in the sensor data.
	const int num_digits = (int)(floor(log10(*sensor_data))) + 1;

	// Check if the number of decimal places to truncate is greater than the number of digits in
	// the sensor data.
	if (num_decimal_places > num_digits) {
		LOG_ERR("invalid input num_decimal_places, %d", num_decimal_places);
		return;
	}

	// Calculate the factor to divide the sensor data by to truncate the number of decimal
	// places.
	int truncation_factor = (int)(pow(10, num_digits - num_decimal_places));

	// Truncate the number of decimal places in the sensor data.
	*sensor_data /= truncation_factor;
}

/**
 * @brief Callback function called at the BSEC library's sample rate
 *
 * This function is called at the BSEC library's sample rate and is responsible for retrieving both
 * BME680 and BSEC library measurement results. The retrieved data is stored in the bme680
 * structure, which can be accessed for detailed data. Additionally, if the IAQ, CO2, or VOC data
 * exceeds a threshold, a BLE event is triggered once.
 *
 * @param dev Pointer to the device structure
 * @param trig Pointer to the sensor trigger structure
 */
static void trigger_handler(const struct device *dev, const struct sensor_trigger *trig)
{
	// Initialize static variables
	static bool is_init = true;

	// Take the BME680 semaphore to ensure exclusive access to the sensor
	k_sem_take(&bme680_sem, K_FOREVER);

	// Retrieve temperature, pressure, and humidity data from the BME680 sensor
	sensor_channel_get(dev, SENSOR_CHAN_AMBIENT_TEMP, &bme680.temp);
	sensor_channel_get(dev, SENSOR_CHAN_PRESS, &bme680.press);
	sensor_channel_get(dev, SENSOR_CHAN_HUMIDITY, &bme680.humidity);

// If IAQ is enabled, retrieve IAQ, CO2, and VOC data from the BSEC library
#if defined(CONFIG_BME68X_IAQ_EN)
	sensor_channel_get(dev, SENSOR_CHAN_IAQ, &bme680.iaq);
	sensor_channel_get(dev, SENSOR_CHAN_CO2, &bme680.eCO2);
	sensor_channel_get(dev, SENSOR_CHAN_VOC, &bme680.breathVOC);
#endif // CONFIG_BME68X_IAQ_EN

	truncate_sensor_data_decimal_places(&bme680.temp.val2, 1);
	truncate_sensor_data_decimal_places(&bme680.press.val2, 2);
	truncate_sensor_data_decimal_places(&bme680.humidity.val2, 2);

	// Release the BME680 semaphore
	k_sem_give(&bme680_sem);

	// If this is the first time the function is called, release the temperature semaphore
	if (is_init && bme680.temp.val1 > 0) {
		is_init = false;
		k_sem_give(&temperature_semaphore);
	}

	// Print the retrieved data to the debug log
	LOG_DBG("temp: %d.%02d°C; press: %d.%02dPa; humidity: %d.%02d%%", bme680.temp.val1,
		bme680.temp.val2, bme680.press.val1, bme680.press.val2, bme680.humidity.val1,
		bme680.humidity.val2);

// If IAQ is enabled, print IAQ, CO2, and VOC data to the debug log
#if defined(CONFIG_BME68X_IAQ_EN)
	LOG_DBG("iaq: %d(acc:%d); CO2: %dppm VOC: %d.%dppm", bme680.iaq.val1, bme680.iaq.val2,
		bme680.eCO2.val1, bme680.breathVOC.val1, bme680.breathVOC.val2);

	// Initialize a variable to store the current events
	uint32_t curr_events = 0;

	// If the IAQ value is greater than 1 and the IAQ accuracy is greater than the unhealthy
	// threshold, set the IAQ value threshold event
	if (bme680.iaq.val2 > 1 && bme680.iaq.val1 > IAQ_UNHEALTHY_THRES) {
		curr_events |= IAQ_VAL_THRESH;
	}

	// If the VOC value is greater than the unhealthy threshold, set the VOC value threshold
	// event
	if (bme680.breathVOC.val1 > VOC_UNHEALTHY_THRES) {
		curr_events |= VOC_VAL_THRESH;
	}

	// If the CO2 value is greater than the unhealthy threshold, set the CO2 value threshold
	// event
	if (bme680.eCO2.val1 > CO2_UNHEALTHY_THRES) {
		curr_events |= CO2_VAL_THRESH;
	}

	// If the current events are different from the previous events, post a BLE event and update
	// the events variable
	static uint32_t events = 0;
	if (events != curr_events) {
		k_event_post(&bt_event, events);
		events = curr_events;
	}
#endif // CONFIG_BME68X_IAQ_EN
};

/**
 * @brief Function to get BME680 sensor data.
 *
 * This function ensures exclusive access to the sensor data by taking a semaphore,
 * creates a copy of the sensor data, and then releases the semaphore.
 *
 * @return A copy of the BME680 sensor data.
 */
struct bme680_data get_bme680_data(void)
{
	/* Take the semaphore to ensure exclusive access to the sensor data */
	k_sem_take(&bme680_sem, K_FOREVER);

	/* Create a copy of the sensor data */
	struct bme680_data copy = bme680;

	/* Release the semaphore to allow other processes to access the sensor data */
	k_sem_give(&bme680_sem);

	/* Return the copy of the sensor data */
	return copy;
}

#endif // CONFIG_BME68X

/**
 * @brief The BME680 thread function runs only once and performs two tasks:
 *
 * 1.Initializes the Bosch BME68x device and registers the trigger handler.
 * 2.Initializes the temperature semaphore so that when temperature data is available,
 * the gas sensor can start operating
 * (the gas sensor's results are calibrated based on temperature)
 */
static void bme680_thread_function(void)
{
	// Get the device structure for the Bosch BME68x sensor
	const struct device *const bme68x_device = DEVICE_DT_GET_ANY(bosch_bme68x);

	// Check if the device is ready
	if (!device_is_ready(bme68x_device)) {
		LOG_ERR("BME68x device is not ready");
		return;
	}

	// Initialize the temperature semaphore with initial value of 0 and maximum value of 1
	k_sem_init(&temperature_semaphore, 0, 1);

	// Sleep for 1 second to allow the device to initialize
	k_sleep(K_SECONDS(1));

	// Set the trigger for the device and register the trigger handler
	int trigger_set_status = sensor_trigger_set(bme68x_device, &trigger, trigger_handler);
	if (trigger_set_status) {
		LOG_ERR("Failed to set trigger for BME68x device");
		return;
	}
}

#define STACKSIZE 1024
#define PRIORITY  3
K_THREAD_DEFINE(bme680_id, STACKSIZE, bme680_thread_function, NULL, NULL, NULL, PRIORITY, 0, 0);
```

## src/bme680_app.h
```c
/**
 * @file src/bme680_data.h
 * @brief This file contains the structure for BME680 sensor data.
 *
 * The BME680 sensor measures temperature, pressure, humidity, IAQ, eCO2, and breathVOC.
 * The average current consumption is 3.7 µA at 1 Hz for humidity, pressure, and temperature,
 * and 0.09‒12 mA for p/h/T/gas depending on the operation mode.
 */
#ifndef __APP_BME680_H__
#define __APP_BME680_H__

#include <zephyr/drivers/sensor.h>
#include <zephyr/kernel.h>

extern struct k_sem temperature_semaphore;

#if defined(CONFIG_BME68X)
/**
 * @struct bme680_data
 * @brief A structure to hold the BME680 sensor data.
 *
 * This structure holds the sensor data for temperature, pressure, humidity, IAQ, eCO2, and
 * breathVOC.
 */
struct bme680_data {
	/**
	 * @brief Temperature data in Celsius, ranging from -40 to 85.
	 */
	struct sensor_value temp;

	/**
	 * @brief Atmospheric pressure data in hPa, ranging from 300 to 1100. Sensitivity error is
	 * ±0.25%.
	 */
	struct sensor_value press;

	/**
	 * @brief Humidity data in percentage, ranging from 0 to 100%. Accuracy tolerance is ±3%.
	 */
	struct sensor_value humidity;

#if defined(CONFIG_BME68X_IAQ_EN)
	/**
	 * @brief IAQ Index data, ranging from 0 to 500. Sensor-to-sensor deviation is ±15%.
	 * For more details, see README.md.
	 */
	struct sensor_value iaq;

	/**
	 * @brief eCO2 data in ppm, ranging from 0 to infinity.
	 * For more details, see README.md.
	 */
	struct sensor_value eCO2;

	/**
	 * @brief Breath VOC data in ppm, ranging from 0 to 1000.
	 * For more details, see README.md.
	 */
	struct sensor_value breathVOC;
#endif // CONFIG_BME68X_IAQ_EN
};

/**
 * @brief A function for deep copying BME680 data, with Mutual Exclusion using a semaphore
 *
 * @return bme680 struct data
 */
struct bme680_data get_bme680_data(void);

#endif // CONFIG_BME68X
#endif // __APP_BME680_H__
```

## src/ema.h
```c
#ifndef __APP_EMA_H__
#define __APP_EMA_H__

typedef struct {
    float y;
    bool init;
    float alpha;
} ema_t;
static inline void ema_init(ema_t *e, float alpha) {
    e->alpha = alpha;
    e->init = false;
}
static inline float ema_apply(ema_t *e, float x) {
    if (!e->init) {
        e->y = x;
        e->init = true;
        return e->y;
    }
    e->y = e->alpha * x + (1.0f - e->alpha) * e->y;
    return e->y;
}

#endif // __APP_EMA_H__
```
